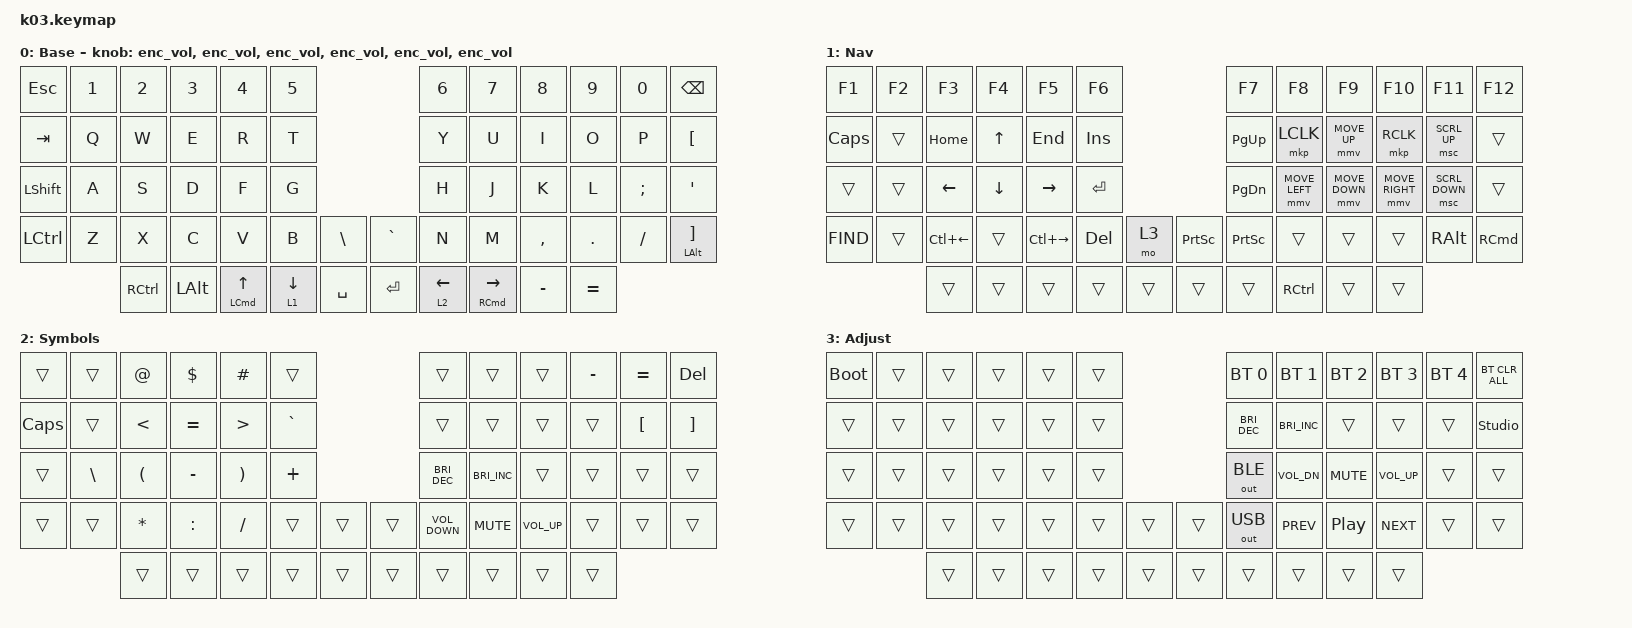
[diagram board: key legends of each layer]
#include "keys_ru.h"
#include <behaviors.dtsi>
#include <dt-bindings/zmk/bt.h>
#include <dt-bindings/zmk/keys.h>
#include <dt-bindings/zmk/outputs.h>
#include <dt-bindings/zmk/pointing.h>

/ {
    behaviors {
        enc_vol: enc_vol {
            compatible = "zmk,behavior-sensor-rotate";
            label = "ENC_VOL";
            #sensor-binding-cells = <0>;
            bindings = <&kp C_VOL_UP>, <&kp C_VOL_DN>;
        };

        // Кастомный mod-tap для Command

        my_cmd_mt: my_cmd_mt {
            compatible = "zmk,behavior-hold-tap";
            #binding-cells = <2>;
            flavor = "hold-preferred";
            tapping-term-ms = <100>;    // внутренний таймер
            quick-tap-ms = <50>;       // уменьшил для лучшей отзывчивости
            bindings = <&kp>, <&kp>;
        };

        // Кастомный layer-tap для смены слоёв

        my_lt: my_lt {
            compatible = "zmk,behavior-hold-tap";
            #binding-cells = <2>;
            flavor = "hold-preferred";
            tapping-term-ms = <100>;    // внутренний таймер
            quick-tap-ms = <50>;       // уменьшил для лучшей отзывчивости
            bindings = <&mo>, <&kp>;
        };

        // Ваши tap-dance с увеличенным внешним таймером

        up_arrow_command: up_arrow_command {
            compatible = "zmk,behavior-tap-dance";
            #binding-cells = <0>;
            bindings = <&my_cmd_mt LEFT_COMMAND UP_ARROW>, <&kp UP>;

            tapping-term-ms = <250>;    // увеличил до 250
        };

        down_arrow_layer_1: down_arrow_layer_1 {
            compatible = "zmk,behavior-tap-dance";
            #binding-cells = <0>;
            bindings = <&my_lt 1 DOWN_ARROW>, <&kp DOWN_ARROW>;

            tapping-term-ms = <250>;    // увеличил до 250
        };

        left_arrow_layer_2: left_arrow_layer_2 {
            compatible = "zmk,behavior-tap-dance";
            #binding-cells = <0>;
            bindings = <&my_lt 2 LEFT_ARROW>, <&kp LEFT_ARROW>;

            tapping-term-ms = <250>;    // увеличил до 250
        };

        right_arrow_command: right_arrow_command {
            compatible = "zmk,behavior-tap-dance";
            #binding-cells = <0>;
            bindings =
                <&my_cmd_mt RIGHT_COMMAND RIGHT_ARROW>,
                <&kp RIGHT_ARROW>;

            tapping-term-ms = <250>;    // увеличил до 250
        };
    };

    combos {
        compatible = "zmk,combos";

        scrin {
            bindings = <&scrin1>;
            key-positions = <42 54>;
        };
    };

    macros {
        scrin1: scrin1 {
            compatible = "zmk,behavior-macro";
            #binding-cells = <0>;
            bindings = <&kp LEFT_COMMAND &kp LEFT_SHIFT &kp N4>, <&macro_press>;

            label = "SCRIN1";
        };
    };

    keymap {
        compatible = "zmk,keymap";

        base {
            bindings = <
&kp ESCAPE        &kp N1  &kp N2     &kp N3    &kp N4                     &kp N5                                        &kp N6      &kp N7                   &kp N8     &kp N9     &kp N0    &kp BSPC
&kp TAB           &kp Q   &kp W      &kp E     &kp R                      &kp T                                         &kp Y       &kp U                    &kp I      &kp O      &kp P     &kp LEFT_BRACKET
&kp LEFT_SHIFT    &kp A   &kp S      &kp D     &kp F                      &kp G                                         &kp H       &kp J                    &kp K      &kp L      &kp SEMI  &kp SQT
&kp LEFT_CONTROL  &kp Z   &kp X      &kp C     &kp V                      &kp B             &kp BACKSLASH    &kp GRAVE  &kp N       &kp M                    &kp COMMA  &kp DOT    &kp FSLH  &mt LEFT_ALT RIGHT_BRACKET
                          &kp RCTRL  &kp LALT  &mt LEFT_COMMAND UP_ARROW  &lt 1 DOWN_ARROW  &kp SPACE        &kp ENTER  &lt 2 LEFT  &mt RIGHT_COMMAND RIGHT  &kp MINUS  &kp EQUAL
            >;

            display-name = "Base";
            sensor-bindings =
                <&enc_vol>,
                <&enc_vol>,
                <&enc_vol>,
                <&enc_vol>,
                <&enc_vol>,
                <&enc_vol>;
        };

        nav {
            bindings = <
&kp F1      &kp F2  &kp F3        &kp F4    &kp F5         &kp F6                              &kp F7           &kp F8          &kp F9          &kp F10          &kp F11         &kp F12
&kp CAPS    &trans  &kp HOME      &kp UP    &kp END        &kp INS                             &kp PG_UP        &mkp LCLK       &mmv MOVE_UP    &mkp RCLK        &msc SCRL_UP    &trans
&trans      &trans  &kp LEFT      &kp DOWN  &kp RIGHT      &kp RET                             &kp PG_DN        &mmv MOVE_LEFT  &mmv MOVE_DOWN  &mmv MOVE_RIGHT  &msc SCRL_DOWN  &trans
&kp K_FIND  &trans  &kp LC(LEFT)  &trans    &kp LC(RIGHT)  &kp DEL  &mo 3     &kp PRINTSCREEN  &kp PRINTSCREEN  &trans          &trans          &trans           &kp RIGHT_ALT   &kp RIGHT_COMMAND
                    &trans        &trans    &trans         &trans   &trans    &trans           &trans           &kp RCTRL       &trans          &trans
            >;

            display-name = "Nav";
        };

        sym {
            bindings = <
&trans    &trans    &kp AT    &kp DLLR   &kp HASH  &trans                       &trans                &trans                &trans        &kp MINUS  &kp EQUAL  &kp DELETE
&kp CAPS  &trans    &kp LT    &kp EQUAL  &kp GT    &kp GRAVE                    &trans                &trans                &trans        &trans     &kp LBKT   &kp RIGHT_BRACKET
&trans    &kp BSLH  &kp LPAR  &kp MINUS  &kp RPAR  &kp PLUS                     &kp C_BRIGHTNESS_DEC  &kp C_BRIGHTNESS_INC  &trans        &trans     &trans     &trans
&trans    &trans    &kp STAR  &kp COLON  &kp FSLH  &trans     &trans    &trans  &kp C_VOLUME_DOWN     &kp C_MUTE            &kp C_VOL_UP  &trans     &trans     &trans
                    &trans    &trans     &trans    &trans     &trans    &trans  &trans                &trans                &trans        &trans
            >;

            display-name = "Symbols";
        };

        adj {
            bindings = <
&bootloader  &trans  &trans  &trans  &trans  &trans                    &bt BT_SEL 0   &bt BT_SEL 1          &bt BT_SEL 2      &bt BT_SEL 3  &bt BT_SEL 4  &bt BT_CLR_ALL
&trans       &trans  &trans  &trans  &trans  &trans                    &kp C_BRI_DEC  &kp C_BRIGHTNESS_INC  &trans            &trans        &trans        &studio_unlock
&trans       &trans  &trans  &trans  &trans  &trans                    &out OUT_BLE   &kp C_VOL_DN          &kp C_MUTE        &kp C_VOL_UP  &trans        &trans
&trans       &trans  &trans  &trans  &trans  &trans  &trans    &trans  &out OUT_USB   &kp C_PREV            &kp C_PLAY_PAUSE  &kp C_NEXT    &trans        &trans
                     &trans  &trans  &trans  &trans  &trans    &trans  &trans         &trans                &trans            &trans
            >;

            display-name = "Adjust";
        };
    };
};
